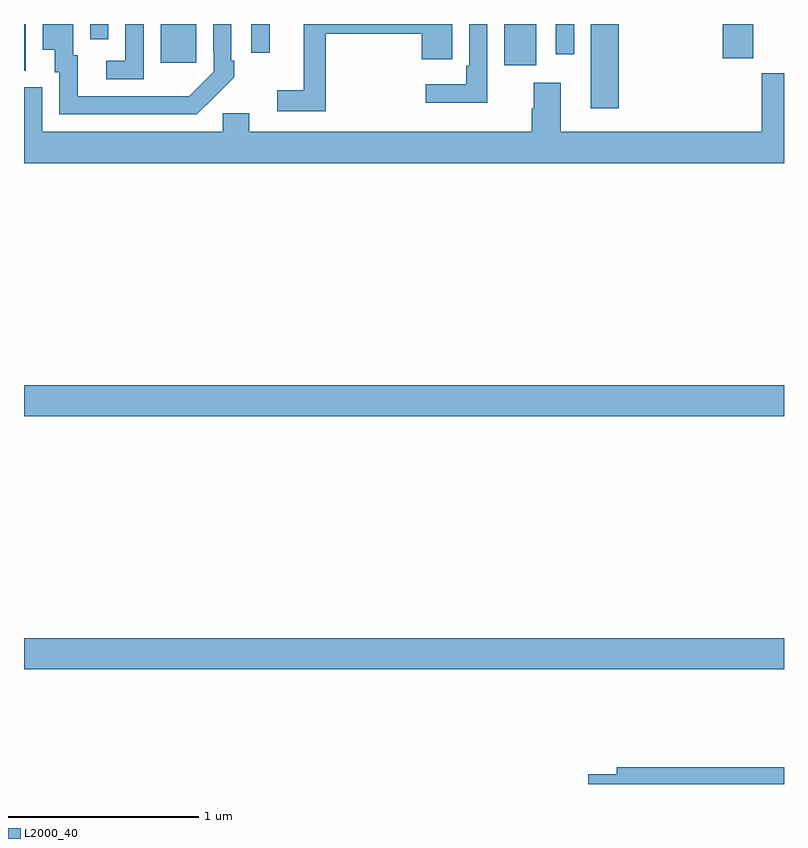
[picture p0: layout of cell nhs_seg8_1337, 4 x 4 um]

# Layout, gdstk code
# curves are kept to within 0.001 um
import gdstk
lib = gdstk.Library(unit=1e-6, precision=1e-09)
def R(c, l, rs):  # rectangles x0, y0, x1, y1
    for r in rs: c.add(gdstk.rectangle(r[:2], r[2:], *l))
def P(c, l, *ps):  # polygons
    for p in ps: c.add(gdstk.Polygon(p, *l))
L2000_40 = (2000, 40)

nhs_seg8_1337 = lib.new_cell('nhs_seg8_1337')
R(nhs_seg8_1337, L2000_40, [(195,1112.504,199,1112.668), (195,1113.836,199,1114), (197.984,1115.457,198.131,1115.9), (195,1115.653,195.01,1115.9), (197.528,1115.682,197.695,1115.9), (195.719,1115.697,195.907,1115.9), (198.677,1115.721,198.837,1115.9), (197.799,1115.742,197.895,1115.9), (196.197,1115.748,196.293,1115.9), (195.348,1115.82,195.444,1115.9)])
P(nhs_seg8_1337, L2000_40, [(197.439,1115.9),(197.343,1115.9),(197.343,1115.68),(197.327,1115.68),(197.327,1115.584),(197.115,1115.584),(197.115,1115.486),(197.439,1115.486)],
  [(196.589,1115.848),(197.093,1115.848),(197.093,1115.715),(197.253,1115.715),(197.253,1115.827),(197.254,1115.827),(197.254,1115.9),(196.472,1115.9),(196.472,1115.551),(196.332,1115.551),(196.332,1115.442),(196.589,1115.442)],
  [(196.001,1115.515),(196.002,1115.514),(196.107,1115.619),(196.107,1115.707),(196.092,1115.707),(196.092,1115.9),(195.996,1115.9),(195.996,1115.749),(195.999,1115.749),(195.999,1115.649),(195.871,1115.521),(195.767,1115.52),(195.283,1115.52),(195.283,1115.736),(195.259,1115.736),(195.259,1115.9),(195.098,1115.9),(195.098,1115.765),(195.161,1115.765),(195.161,1115.646),(195.186,1115.646),(195.186,1115.424),(195.91,1115.424)],
  [(195.63,1115.9),(195.534,1115.9),(195.534,1115.706),(195.432,1115.706),(195.432,1115.61),(195.63,1115.61)],
  [(199,1115.641),(198.884,1115.641),(198.884,1115.332),(197.824,1115.332),(197.824,1115.59),(197.684,1115.59),(197.684,1115.453),(197.672,1115.453),(197.672,1115.332),(196.186,1115.332),(196.186,1115.43),(196.047,1115.43),(196.047,1115.332),(195.097,1115.332),(195.097,1115.568),(195,1115.568),(195,1115.168),(199,1115.168)],
  [(199,1111.988),(198.119,1111.988),(198.119,1111.952),(197.97,1111.952),(197.97,1111.9),(199,1111.9)])

lib.write_gds('nhs_seg8_1337.gds')
